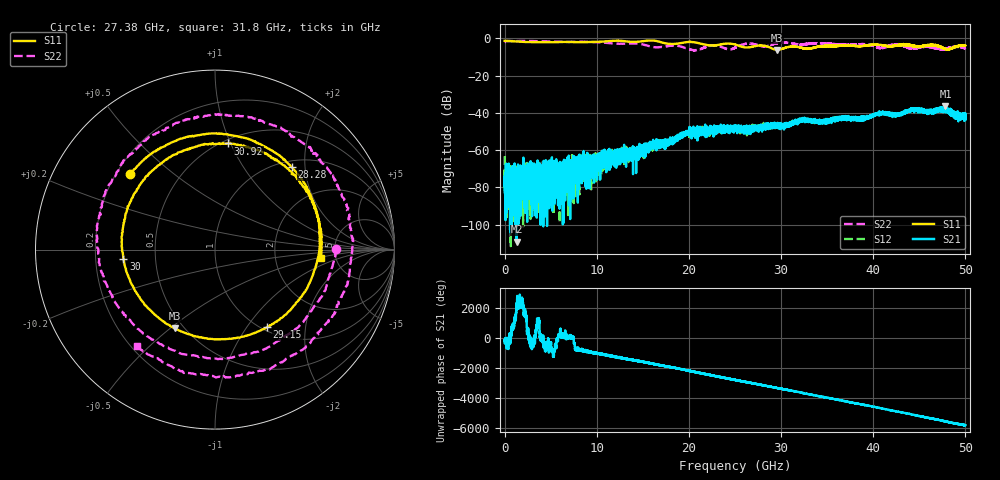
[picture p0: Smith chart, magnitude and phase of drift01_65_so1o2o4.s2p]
!Created with skrf (http://scikit-rf.org).
# Hz S RI R 50.0
!freq ReS11 ImS11 ReS21 ImS21 ReS12 ImS12 ReS22 ImS22
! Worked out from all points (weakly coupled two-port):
!   10001 points, 300 kHz to 50 GHz, reference 50 ohm
!   highest |S21| = -36.39 dB at 47.83 GHz (marker M1); lowest = -109.2 dB at 1.3 GHz (marker M2)
!   lowest |S11| = -6.2 dB at 29.58 GHz (marker M3), VSWR 2.93, Z = 22.5 - j26.1 ohm
!   |S11| at or under -10 dB: nowhere
!   |S22| runs from -6.4 to -1.4 dB; largest |S21 - S12| = 0.0042
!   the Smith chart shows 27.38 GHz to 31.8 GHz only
!   S11 on the Smith chart (normalised r, x): 27.38 GHz: 0.25, +0.36; 28.28 GHz: 1.13, +1.71; 29.15 GHz: 1.06, -1.25; 30 GHz: 0.32, -0.04; 30.92 GHz: 0.53, +0.98; 31.8 GHz: 3.80, -0.57
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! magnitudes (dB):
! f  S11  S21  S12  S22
! 300 kHz  -1.3  -74.4  -63.3  -2.1
! 255.3 MHz  -1.4  -81.0  -85.2  -1.4
! 1.3 GHz  -1.7  -109.2  -75.7  -1.4
! 4.705 GHz  -2.1  -74.7  -87.1  -1.6
! 8.335 GHz  -2.0  -67.4  -66.2  -1.8
! 16.67 GHz  -1.6  -57.0  -56.7  -4.8
! 20.32 GHz  -1.9  -48.3  -49.6  -6.2
! 22.62 GHz  -3.8  -49.3  -48.9  -3.8
! 25 GHz  -3.3  -48.9  -49.3  -5.0
! 27.38 GHz  -3.9  -48.5  -47.4  -3.4
! 28.28 GHz  -4.0  -47.0  -47.1  -4.3
! 29.15 GHz  -5.7  -48.2  -46.5  -3.1
! 29.58 GHz  -6.2  -47.5  -45.9  -2.5
! 30 GHz  -5.8  -46.2  -47.3  -2.2
! 30.92 GHz  -4.5  -46.0  -46.3  -2.5
! 31.8 GHz  -4.6  -44.2  -44.3  -3.2
! 33.34 GHz  -5.2  -44.5  -44.1  -2.7
! 41.67 GHz  -4.3  -40.3  -40.4  -4.0
! 44.5 GHz  -4.2  -37.6  -37.9  -5.3
! 46.52 GHz  -3.8  -38.8  -39.2  -5.0
! 47.83 GHz  -5.8  -36.4  -39.1  -5.4
! 50 GHz  -3.9  -41.5  -41.2  -5.3
